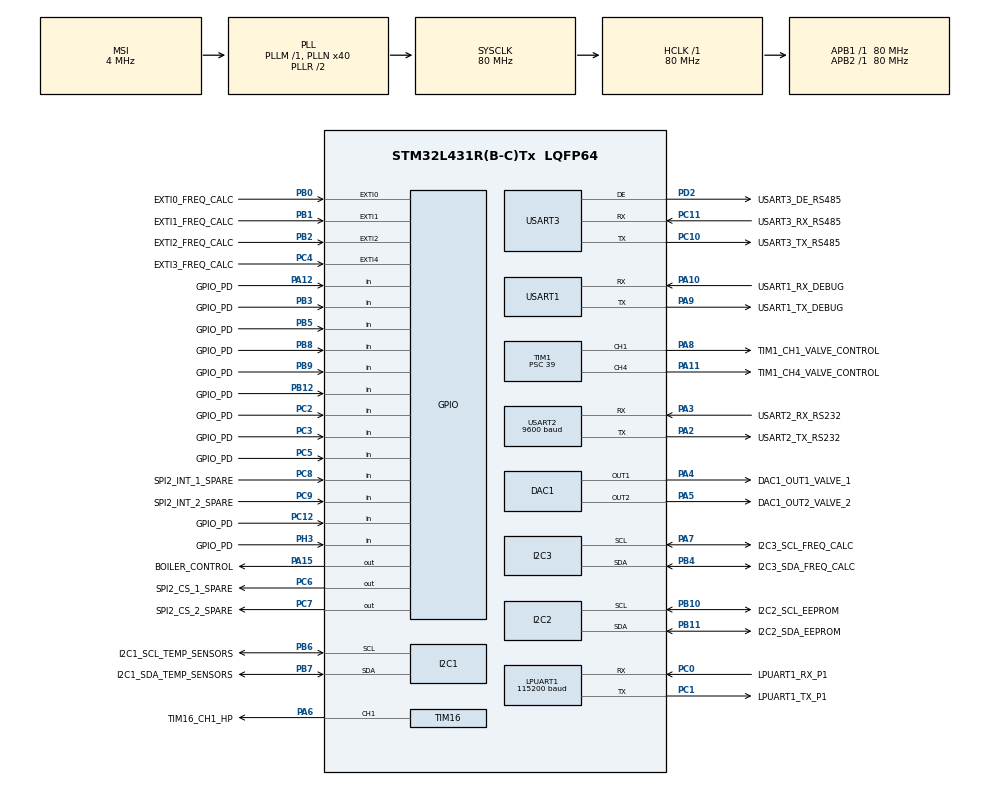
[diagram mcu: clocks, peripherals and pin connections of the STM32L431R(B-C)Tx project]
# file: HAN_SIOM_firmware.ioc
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DAC1.DAC_Channel-DAC_OUT2=DAC_CHANNEL_2
DAC1.DAC_Trigger-DAC_OUT1=DAC_TRIGGER_NONE
DAC1.DAC_Trigger-DAC_OUT2=DAC_TRIGGER_NONE
I2C1.Timing=0x10909CEC
I2C2.OwnAddress=0x20
I2C2.Timing=0x10909CEC
I2C3.Timing=0x10909CEC
LPUART1.BaudRate=115200
LPUART1.RxPinLevelInvertParam=UART_ADVFEATURE_RXINV_DISABLE
LPUART1.TxPinLevelInvertParam=UART_ADVFEATURE_TXINV_DISABLE
LPUART1.WordLength=UART_WORDLENGTH_8B
Mcu.Family=STM32L4
Mcu.Name=STM32L431R(B-C)Tx
Mcu.Package=LQFP64
NVIC.EXTI0_IRQn=true\:0\:0\:true\:false\:true\:true\:true
NVIC.EXTI1_IRQn=true\:0\:0\:true\:false\:true\:true\:true
NVIC.EXTI2_IRQn=true\:0\:0\:true\:false\:true\:true\:true
NVIC.EXTI4_IRQn=true\:0\:0\:true\:false\:true\:true\:true
NVIC.I2C2_EV_IRQn=true\:0\:0\:false\:false\:true\:true\:true
NVIC.LPUART1_IRQn=true\:0\:0\:false\:false\:true\:true\:true
NVIC.PriorityGroup=NVIC_PRIORITYGROUP_4
NVIC.TIM6_DAC_IRQn=true\:0\:0\:false\:false\:true\:true\:true
NVIC.TIM7_IRQn=true\:0\:0\:false\:false\:true\:true\:true
NVIC.USART2_IRQn=true\:0\:0\:false\:false\:true\:true\:true
NVIC.USART3_IRQn=true\:0\:0\:false\:false\:true\:true\:true
PA0.GPIO_Label=USART2_CTS_RS232
PA0.Signal=USART2_CTS
PA1.GPIO_Label=USART2_RTS_RS232
PA1.Signal=USART2_RTS
PA10.GPIO_Label=USART1_RX_DEBUG
PA10.Mode=Asynchronous
PA10.Signal=USART1_RX
PA11.GPIO_Label=TIM1_CH4_VALVE_CONTROL
PA11.Signal=S_TIM1_CH4
PA12.GPIO_Label=GPIO_PD
PA12.Signal=GPIO_Input
PA13\ (JTMS-SWDIO).Mode=Serial_Wire
PA13\ (JTMS-SWDIO).Signal=SYS_JTMS-SWDIO
PA14\ (JTCK-SWCLK).Mode=Serial_Wire
PA14\ (JTCK-SWCLK).Signal=SYS_JTCK-SWCLK
PA15\ (JTDI).GPIO_Label=BOILER_CONTROL
PA15\ (JTDI).Signal=GPIO_Output
PA2.GPIO_Label=USART2_TX_RS232
PA2.Mode=Asynchronous
PA2.Signal=USART2_TX
PA3.GPIO_Label=USART2_RX_RS232
PA3.Mode=Asynchronous
PA3.Signal=USART2_RX
PA4.GPIO_Label=DAC1_OUT1_VALVE_1
PA4.Signal=COMP_DAC11_group
PA5.GPIO_Label=DAC1_OUT2_VALVE_2
PA5.Signal=COMP_DAC12_group
PA6.GPIO_Label=TIM16_CH1_HP
PA6.Signal=S_TIM16_CH1
PA7.GPIO_Label=I2C3_SCL_FREQ_CALC
PA7.GPIO_Pu=GPIO_PULLUP
PA7.Mode=I2C
PA7.Signal=I2C3_SCL
PA8.GPIO_Label=TIM1_CH1_VALVE_CONTROL
PA8.Signal=S_TIM1_CH1
PA9.GPIO_Label=USART1_TX_DEBUG
PA9.Mode=Asynchronous
PA9.Signal=USART1_TX
PB0.GPIO_Label=EXTI0_FREQ_CALC
PB0.GPIO_ModeDefaultEXTI=GPIO_MODE_IT_RISING
PB0.Signal=GPXTI0
PB1.GPIO_Label=EXTI1_FREQ_CALC
PB1.GPIO_ModeDefaultEXTI=GPIO_MODE_IT_RISING
PB1.Signal=GPXTI1
PB10.GPIO_Label=I2C2_SCL_EEPROM
PB10.GPIO_Pu=GPIO_PULLUP
PB10.Mode=I2C
PB10.Signal=I2C2_SCL
PB11.GPIO_Label=I2C2_SDA_EEPROM
PB11.GPIO_Pu=GPIO_PULLUP
PB11.Mode=I2C
PB11.Signal=I2C2_SDA
PB12.GPIO_Label=GPIO_PD
PB12.GPIO_PuPd=GPIO_PULLDOWN
PB12.Signal=GPIO_Input
PB13.Signal=SPI2_SCK
PB14.Signal=SPI2_MISO
PB15.Signal=SPI2_MOSI
PB2.GPIO_Label=EXTI2_FREQ_CALC
PB2.GPIO_ModeDefaultEXTI=GPIO_MODE_IT_RISING
PB2.Signal=GPXTI2
PB3\ (JTDO-TRACESWO).GPIO_Label=GPIO_PD
PB3\ (JTDO-TRACESWO).GPIO_PuPd=GPIO_PULLDOWN
PB3\ (JTDO-TRACESWO).Signal=GPIO_Input
PB4\ (NJTRST).GPIO_Label=I2C3_SDA_FREQ_CALC
PB4\ (NJTRST).GPIO_Pu=GPIO_PULLUP
PB4\ (NJTRST).Mode=I2C
PB4\ (NJTRST).Signal=I2C3_SDA
PB5.GPIO_Label=GPIO_PD
PB5.GPIO_PuPd=GPIO_PULLDOWN
PB5.Signal=GPIO_Input
PB6.GPIO_Label=I2C1_SCL_TEMP_SENSORS
PB6.GPIO_Pu=GPIO_PULLUP
PB6.Mode=I2C
PB6.Signal=I2C1_SCL
PB7.GPIO_Label=I2C1_SDA_TEMP_SENSORS
PB7.GPIO_Pu=GPIO_PULLUP
PB7.Mode=I2C
PB7.Signal=I2C1_SDA
PB8.GPIO_Label=GPIO_PD
PB8.GPIO_PuPd=GPIO_PULLDOWN
PB8.Signal=GPIO_Input
PB9.GPIO_Label=GPIO_PD
PB9.GPIO_PuPd=GPIO_PULLDOWN
PB9.Signal=GPIO_Input
PC0.GPIO_Label=LPUART1_RX_P1
PC0.Mode=Asynchronous
PC0.Signal=LPUART1_RX
PC1.GPIO_Label=LPUART1_TX_P1
PC1.Mode=Asynchronous
PC1.Signal=LPUART1_TX
PC10.GPIO_Label=USART3_TX_RS485
PC10.Mode=Asynchronous
PC10.Signal=USART3_TX
PC11.GPIO_Label=USART3_RX_RS485
PC11.Mode=Asynchronous
PC11.Signal=USART3_RX
PC12.GPIO_Label=GPIO_PD
PC12.GPIO_PuPd=GPIO_PULLDOWN
PC12.Signal=GPIO_Input
PC13.Mode=SYS_WakeUp1
PC13.Signal=SYS_WKUP2
PC14-OSC32_IN\ (PC14).Signal=RCC_OSC32_IN
PC15-OSC32_OUT\ (PC15).Signal=RCC_OSC32_OUT
PC2.GPIO_Label=GPIO_PD
PC2.GPIO_PuPd=GPIO_PULLDOWN
PC2.Signal=GPIO_Input
PC3.GPIO_Label=GPIO_PD
PC3.GPIO_PuPd=GPIO_PULLDOWN
PC3.Signal=GPIO_Input
PC4.GPIO_Label=EXTI3_FREQ_CALC
PC4.GPIO_ModeDefaultEXTI=GPIO_MODE_IT_RISING
PC4.Signal=GPXTI4
PC5.GPIO_Label=GPIO_PD
PC5.GPIO_PuPd=GPIO_PULLDOWN
PC5.Signal=GPIO_Input
PC6.GPIO_Label=SPI2_CS_1_SPARE
PC6.Signal=GPIO_Output
PC7.GPIO_Label=SPI2_CS_2_SPARE
PC7.Signal=GPIO_Output
PC8.GPIO_Label=SPI2_INT_1_SPARE
PC8.Signal=GPIO_Input
PC9.GPIO_Label=SPI2_INT_2_SPARE
PC9.Signal=GPIO_Input
PD2.GPIO_Label=USART3_DE_RS485
PD2.Mode=Hardware Flow Control (RS485)
PD2.Signal=USART3_DE
PH0-OSC_IN\ (PH0).Signal=RCC_OSC_IN
PH1-OSC_OUT\ (PH1).Signal=RCC_OSC_OUT
PH3-BOOT0.GPIO_Label=GPIO_PD
PH3-BOOT0.GPIO_PuPd=GPIO_PULLDOWN
PH3-BOOT0.Signal=GPIO_Input
ProjectManager.HeapSize=0x200
ProjectManager.StackSize=0x400
ProjectManager.TargetToolchain=STM32CubeIDE
RCC.AHBFreq_Value=80000000
RCC.APB1Freq_Value=80000000
RCC.APB1TimFreq_Value=80000000
RCC.APB2Freq_Value=80000000
RCC.APB2TimFreq_Value=80000000
RCC.CortexFreq_Value=80000000
RCC.HCLKFreq_Value=80000000
RCC.HSE_VALUE=8000000
RCC.HSI48_VALUE=48000000
RCC.HSI_VALUE=16000000
RCC.LSE_VALUE=32768
RCC.MSI_VALUE=4000000
RCC.PLLN=40
RCC.SYSCLKFreq_VALUE=80000000
RCC.SYSCLKSource=RCC_SYSCLKSOURCE_PLLCLK
RCC.VCOOutputFreq_Value=160000000
SH.COMP_DAC11_group.0=DAC1_OUT1,DAC_OUT1
SH.COMP_DAC12_group.0=DAC1_OUT2,DAC_OUT2
SH.S_TIM16_CH1.0=TIM16_CH1,PWM Generation1 CH1
SH.S_TIM1_CH1.0=TIM1_CH1,PWM Generation1 CH1
SH.S_TIM1_CH4.0=TIM1_CH4,PWM Generation4 CH4
TIM1.AutoReloadPreload=TIM_AUTORELOAD_PRELOAD_ENABLE
TIM1.Break2Polarity=TIM_BREAK2POLARITY_LOW
TIM1.BreakPolarity=TIM_BREAKPOLARITY_LOW
TIM1.Channel-PWM\ Generation1\ CH1=TIM_CHANNEL_1
TIM1.Channel-PWM\ Generation4\ CH4=TIM_CHANNEL_4
TIM1.ClockDivision=TIM_CLOCKDIVISION_DIV1
TIM1.Period=1000
TIM1.Prescaler=39
TIM1.Pulse-PWM\ Generation1\ CH1=200
TIM1.Pulse-PWM\ Generation4\ CH4=200
TIM16.Channel=TIM_CHANNEL_1
TIM2.AutoReloadPreload=TIM_AUTORELOAD_PRELOAD_ENABLE
TIM2.ClockDivision=TIM_CLOCKDIVISION_DIV2
TIM2.Period=1000
TIM2.Prescaler=40000
TIM6.Prescaler=79
TIM7.Prescaler=79
USART1.RxPinLevelInvertParam=ADVFEATURE_RXINV_DISABLE
USART1.VirtualMode-Asynchronous=VM_ASYNC
USART2.BaudRate=9600
USART2.VirtualMode-Asynchronous=VM_ASYNC
USART3.VirtualMode-Asynchronous=VM_ASYNC
USART3.VirtualMode-Hardware\ Flow\ Control\ (RS485)=VM_ASYNC
VP_TIM16_VS_ClockSourceINT.Mode=Enable_Timer
VP_TIM1_VS_ClockSourceINT.Mode=Internal
VP_TIM2_VS_ClockSourceINT.Mode=Internal
VP_TIM6_VS_ClockSourceINT.Mode=Enable_Timer
VP_TIM7_VS_ClockSourceINT.Mode=Enable_Timer
board=custom

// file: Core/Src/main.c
/* USER CODE BEGIN Header */
/**
  ******************************************************************************
  * @file           : main.c
  * @brief          : Main program body
  ******************************************************************************
  * @attention
  *
  * <h2><center>&copy; Copyright (c) 2021 STMicroelectronics.
  * All rights reserved.</center></h2>
  *
  * This software component is licensed by ST under BSD 3-Clause license,
  * the "License"; You may not use this file except in compliance with the
  * License. You may obtain a copy of the License at:
  *                        opensource.org/licenses/BSD-3-Clause
  *
  ******************************************************************************
  */
/* USER CODE END Header */
#include "main.h"

/* USER CODE BEGIN Includes */
#include "../SiomModule/systemDefinition.h"
#include "../SiomModule/stateMachine.h"
#include "../SiomModule/DL_DS_2482_800/ds_2482_800.h"
/* USER CODE END Includes */

DAC_HandleTypeDef hdac1;

I2C_HandleTypeDef hi2c1;
I2C_HandleTypeDef hi2c2;
I2C_HandleTypeDef hi2c3;

UART_HandleTypeDef hlpuart1;
UART_HandleTypeDef huart1;
UART_HandleTypeDef huart2;
UART_HandleTypeDef huart3;

TIM_HandleTypeDef htim1;
TIM_HandleTypeDef htim2;
TIM_HandleTypeDef htim6;
TIM_HandleTypeDef htim7;
TIM_HandleTypeDef htim16;

/* USER CODE BEGIN PV */
enum e_I2C_COMM_STATE_MACHINE_t
{
	I2C_STATEMACHINE_ADDRESS = 0,
	I2C_STATEMACHINE_REGISTER,
	I2C_STATEMACHINE_DATA,
	I2C_STATEMACHINE_EOF
};
/* USER CODE END PV */

void SystemClock_Config(void);
static void MX_GPIO_Init(void);
static void MX_DAC1_Init(void);
static void MX_I2C1_Init(void);
static void MX_I2C2_Init(void);
static void MX_I2C3_Init(void);
static void MX_LPUART1_UART_Init(void);
static void MX_USART1_UART_Init(void);
static void MX_USART2_UART_Init(void);
static void MX_USART3_UART_Init(void);
static void MX_TIM1_Init(void);
static void MX_TIM2_Init(void);
static void MX_TIM16_Init(void);
static void MX_TIM7_Init(void);
static void MX_TIM6_Init(void);
/* USER CODE BEGIN PFP */
int addressChecked = 0;
int writeOrRead = 0;
int registerAction = 0;
enum e_I2C_COMM_STATE_MACHINE_t i2cCommunication = I2C_STATEMACHINE_ADDRESS;

// Global array for I2C output data because data is send via interrupts >> if not globally known data corruption can occur.
uint8_t i2cOutputData[12] = {0};
/* USER CODE END PFP */

/* USER CODE BEGIN 0 */
void HAL_I2C_AddrCallback(I2C_HandleTypeDef *hi2c, uint8_t TransferDirection, uint16_t AddrMatchCode)
{
	if (addressChecked == 0)
	{
		addressChecked = 1;
		uint8_t dummy = 0;
		HAL_I2C_Slave_Seq_Receive_IT(hi2c, &dummy, 1, I2C_LAST_FRAME);
		systemDebug("Address check received\r\n");
		return;
	}

	switch (i2cCommunication)
	{
	case I2C_STATEMACHINE_ADDRESS:
		// Read target register
		if (HAL_I2C_Slave_Seq_Receive_IT(hi2c, SIOM_Input.i2cArray, 1, I2C_FIRST_AND_NEXT_FRAME) != HAL_OK)
		{
			systemDebug("Register read failed\r\n");
		}

		if (TransferDirection == I2C_DIRECTION_RECEIVE)
		{
			writeOrRead = 1;
			// Master receive
		}
		else
		{
			writeOrRead = 2;
			// Master write
		}
		i2cCommunication = I2C_STATEMACHINE_REGISTER;
		break;
	case I2C_STATEMACHINE_REGISTER:
		// Register value
		registerAction = SIOM_Input.i2cArray[0];
		if (registerAction == 0x01)
		{
			// Read output
			i2cCommunication = I2C_STATEMACHINE_DATA;
			i2cOutputData[0] = SIOM_Output.temperatureSensor_1;
			i2cOutputData[1] = SIOM_Output.temperatureSensor_2;
			i2cOutputData[2] = SIOM_Output.temperatureSensor_3;
			i2cOutputData[3] = SIOM_Output.temperatureSensor_4;
			i2cOutputData[4] = SIOM_Output.temperatureSensor_5;
			i2cOutputData[5] = SIOM_Output.temperatureSensor_6;
			i2cOutputData[6] = SIOM_Output.temperatureSensor_7;
			i2cOutputData[7] = SIOM_Output.temperatureSensor_8;
			i2cOutputData[8] = (SIOM_Output.flowInput1Frequency & 0xFF00) >> 8;
			i2cOutputData[9] = (SIOM_Output.flowInput1Frequency & 0x00FF);
			i2cOutputData[10] = (SIOM_Output.flowInput2Frequency & 0xFF00) >> 8;
			i2cOutputData[11] = (SIOM_Output.flowInput2Frequency & 0x00FF);

			if(HAL_I2C_Slave_Seq_Transmit_IT(hi2c, i2cOutputData, 12, I2C_NEXT_FRAME) != HAL_OK)
			{
				systemDebug("Data write failed\r\n");
			}
			i2cCommunication = I2C_STATEMACHINE_ADDRESS;
		}
		else if (registerAction == 0x00)
		{
			// Write input
			i2cCommunication = I2C_STATEMACHINE_DATA;
			if (HAL_I2C_Slave_Seq_Receive_IT(hi2c, SIOM_Input.i2cArray, 4, I2C_FIRST_AND_NEXT_FRAME) != HAL_OK)
			{
				systemDebug("Register read failed\r\n");
			}
		}
		break;
	default:
		break;
	}
}

void HAL_I2C_ListenCpltCallback(I2C_HandleTypeDef *hi2c) {
	HAL_I2C_EnableListen_IT(hi2c); // Restart

	systemDebug("Frequency 1: %d\r\n", SIOM_Output.flowInput1Frequency);
	systemDebug("Frequency 2: %d\r\n", SIOM_Output.flowInput2Frequency);
	systemDebug("Temperatures >> 1: %i C\r\n, 2: %i C\r\n, 3: %i C\r\n, 4: %i C\r\n, 5: %i C\r\n, 6: %i C\r\n, 7: %i C\r\n, 8: %i C\r\n",
			(SIOM_Output.temperatureSensor_1 - 55),
			(SIOM_Output.temperatureSensor_2 - 55),
			(SIOM_Output.temperatureSensor_3 - 55),
			(SIOM_Output.temperatureSensor_4 - 55),
			(SIOM_Output.temperatureSensor_5 - 55),
			(SIOM_Output.temperatureSensor_6 - 55),
			(SIOM_Output.temperatureSensor_7 - 55),
			(SIOM_Output.temperatureSensor_8 - 55) );
}

void HAL_I2C_SlaveRxCpltCallback(I2C_HandleTypeDef *hi2c)
{
	if (i2cCommunication == I2C_STATEMACHINE_DATA)
	{
		SIOM_Input.expansionBoardAnalogOutput = SIOM_Input.i2cArray[0];
		SIOM_Input.expansionBoardHeaterOutput = SIOM_Input.i2cArray[1];
//		SIOM_Input.valve_1 = SIOM_Input.i2cArray[2];
//		SIOM_Input.valve_2 = SIOM_Input.i2cArray[3];

#warning "Data swap for Valve 1 and Valve 2 due to mistake in pcb silkscreen >> are swapped on pcb"
		SIOM_Input.valve_1 = SIOM_Input.i2cArray[3];
		SIOM_Input.valve_2 = SIOM_Input.i2cArray[2];

		if (SIOM_Input.expansionBoardAnalogOutput > 100)
		{
			// 0 - 100%
			SIOM_Input.expansionBoardAnalogOutput = 100;
		}

		if (SIOM_Input.expansionBoardHeaterOutput > 1)
		{
			// On/Off
			SIOM_Input.expansionBoardHeaterOutput = 1;
		}

		if (SIOM_Input.valve_1 > 100)
		{
			// 0 - 100%
			SIOM_Input.valve_1 = 100;
		}

		if (SIOM_Input.valve_2 > 100)
		{
			// 0 - 100%
			SIOM_Input.valve_2 = 100;
		}

		systemDebug("New output: \r\n"
				"expansionBoardAnalogOutput: %d\r\n"
				"expansionBoardHeaterOutput: %d\r\n"
				"valve_1: %d\r\n"
				"valve_2: %d\r\n",
				SIOM_Input.expansionBoardAnalogOutput,
				SIOM_Input.expansionBoardHeaterOutput,
				SIOM_Input.valve_1,
				SIOM_Input.valve_2);

		i2cCommunication = I2C_STATEMACHINE_ADDRESS;
	}
	else if (i2cCommunication == I2C_STATEMACHINE_REGISTER &&
			SIOM_Input.i2cArray[0] == 0x00)
	{
		// Read data
		i2cCommunication = I2C_STATEMACHINE_DATA;
		if (HAL_I2C_Slave_Seq_Receive_IT(hi2c, SIOM_Input.i2cArray, 4, I2C_FIRST_AND_NEXT_FRAME) != HAL_OK)
		{
			systemDebug("Register read failed\r\n");
		}
	}
}
/* USER CODE END 0 */

int main(void)
{

  /* MCU Configuration--------------------------------------------------------*/

  /* Reset of all peripherals, Initializes the Flash interface and the Systick. */
  HAL_Init();

  /* Configure the system clock */
  SystemClock_Config();

  /* Initialize all configured peripherals */
  MX_GPIO_Init();
  MX_DAC1_Init();
  MX_I2C1_Init();
  MX_I2C2_Init();
  MX_I2C3_Init();
  MX_LPUART1_UART_Init();
  MX_USART1_UART_Init();
  MX_USART2_UART_Init();
  MX_USART3_UART_Init();
  MX_TIM1_Init();
  MX_TIM2_Init();
  MX_TIM16_Init();
  MX_TIM7_Init();
  MX_TIM6_Init();
  /* USER CODE BEGIN 2 */
  systemInit(&huart1);

  DS_2482_800_init(&hi2c1);
  /* USER CODE END 2 */

  /* Infinite loop */
  /* USER CODE BEGIN WHILE */
  if (HAL_I2C_EnableListen_IT(&hi2c2) != HAL_OK)
  {
	  systemDebug("HAL_I2C_EnableListen_IT failed\r\n");
  }

  // Start timers for frequency measurement
  HAL_TIM_Base_Start_IT(&htim6);
  HAL_TIM_Base_Start_IT(&htim7);
  while (1)
  {

	  pollTemperature();
	  pollInputs();
	  pollOutputs();
	  pollCommunication();
    /* USER CODE END WHILE */

  }
}

void SystemClock_Config(void)
{
  RCC_OscInitTypeDef RCC_OscInitStruct = {0};
  RCC_ClkInitTypeDef RCC_ClkInitStruct = {0};

  /** Configure the main internal regulator output voltage
  */
  if (HAL_PWREx_ControlVoltageScaling(PWR_REGULATOR_VOLTAGE_SCALE1) != HAL_OK)
  {
    Error_Handler();
  }
  /** Initializes the RCC Oscillators according to the specified parameters
  * in the RCC_OscInitTypeDef structure.
  */
  RCC_OscInitStruct.OscillatorType = RCC_OSCILLATORTYPE_MSI;
  RCC_OscInitStruct.MSIState = RCC_MSI_ON;
  RCC_OscInitStruct.MSICalibrationValue = 0;
  RCC_OscInitStruct.MSIClockRange = RCC_MSIRANGE_6;
  RCC_OscInitStruct.PLL.PLLState = RCC_PLL_ON;
  RCC_OscInitStruct.PLL.PLLSource = RCC_PLLSOURCE_MSI;
  RCC_OscInitStruct.PLL.PLLM = 1;
  RCC_OscInitStruct.PLL.PLLN = 40;
  RCC_OscInitStruct.PLL.PLLP = RCC_PLLP_DIV7;
  RCC_OscInitStruct.PLL.PLLQ = RCC_PLLQ_DIV2;
  RCC_OscInitStruct.PLL.PLLR = RCC_PLLR_DIV2;
  if (HAL_RCC_OscConfig(&RCC_OscInitStruct) != HAL_OK)
  {
    Error_Handler();
  }
  /** Initializes the CPU, AHB and APB buses clocks
  */
  RCC_ClkInitStruct.ClockType = RCC_CLOCKTYPE_HCLK|RCC_CLOCKTYPE_SYSCLK
                              |RCC_CLOCKTYPE_PCLK1|RCC_CLOCKTYPE_PCLK2;
  RCC_ClkInitStruct.SYSCLKSource = RCC_SYSCLKSOURCE_PLLCLK;
  RCC_ClkInitStruct.AHBCLKDivider = RCC_SYSCLK_DIV1;
  RCC_ClkInitStruct.APB1CLKDivider = RCC_HCLK_DIV1;
  RCC_ClkInitStruct.APB2CLKDivider = RCC_HCLK_DIV1;

  if (HAL_RCC_ClockConfig(&RCC_ClkInitStruct, FLASH_LATENCY_4) != HAL_OK)
  {
    Error_Handler();
  }
}

static void MX_DAC1_Init(void)
{

  DAC_ChannelConfTypeDef sConfig = {0};

  /** DAC Initialization
  */
  hdac1.Instance = DAC1;
  if (HAL_DAC_Init(&hdac1) != HAL_OK)
  {
    Error_Handler();
  }
  /** DAC channel OUT1 config
  */
  sConfig.DAC_SampleAndHold = DAC_SAMPLEANDHOLD_DISABLE;
  sConfig.DAC_Trigger = DAC_TRIGGER_NONE;
  sConfig.DAC_OutputBuffer = DAC_OUTPUTBUFFER_ENABLE;
  sConfig.DAC_ConnectOnChipPeripheral = DAC_CHIPCONNECT_DISABLE;
  sConfig.DAC_UserTrimming = DAC_TRIMMING_FACTORY;
  if (HAL_DAC_ConfigChannel(&hdac1, &sConfig, DAC_CHANNEL_1) != HAL_OK)
  {
    Error_Handler();
  }
  /** DAC channel OUT2 config
  */
  if (HAL_DAC_ConfigChannel(&hdac1, &sConfig, DAC_CHANNEL_2) != HAL_OK)
  {
    Error_Handler();
  }

}

static void MX_I2C1_Init(void)
{

  hi2c1.Instance = I2C1;
  hi2c1.Init.Timing = 0x10909CEC;
  hi2c1.Init.OwnAddress1 = 0;
  hi2c1.Init.AddressingMode = I2C_ADDRESSINGMODE_7BIT;
  hi2c1.Init.DualAddressMode = I2C_DUALADDRESS_DISABLE;
  hi2c1.Init.OwnAddress2 = 0;
  hi2c1.Init.OwnAddress2Masks = I2C_OA2_NOMASK;
  hi2c1.Init.GeneralCallMode = I2C_GENERALCALL_DISABLE;
  hi2c1.Init.NoStretchMode = I2C_NOSTRETCH_DISABLE;
  if (HAL_I2C_Init(&hi2c1) != HAL_OK)
  {
    Error_Handler();
  }
  /** Configure Analogue filter
  */
  if (HAL_I2CEx_ConfigAnalogFilter(&hi2c1, I2C_ANALOGFILTER_ENABLE) != HAL_OK)
  {
    Error_Handler();
  }
  /** Configure Digital filter
  */
  if (HAL_I2CEx_ConfigDigitalFilter(&hi2c1, 0) != HAL_OK)
  {
    Error_Handler();
  }

}

static void MX_I2C2_Init(void)
{

  hi2c2.Instance = I2C2;
  hi2c2.Init.Timing = 0x10909CEC;
  hi2c2.Init.OwnAddress1 = 64;
  hi2c2.Init.AddressingMode = I2C_ADDRESSINGMODE_7BIT;
  hi2c2.Init.DualAddressMode = I2C_DUALADDRESS_DISABLE;
  hi2c2.Init.OwnAddress2 = 0;
  hi2c2.Init.OwnAddress2Masks = I2C_OA2_NOMASK;
  hi2c2.Init.GeneralCallMode = I2C_GENERALCALL_DISABLE;
  hi2c2.Init.NoStretchMode = I2C_NOSTRETCH_DISABLE;
  if (HAL_I2C_Init(&hi2c2) != HAL_OK)
  {
    Error_Handler();
  }
  /** Configure Analogue filter
  */
  if (HAL_I2CEx_ConfigAnalogFilter(&hi2c2, I2C_ANALOGFILTER_ENABLE) != HAL_OK)
  {
    Error_Handler();
  }
  /** Configure Digital filter
  */
  if (HAL_I2CEx_ConfigDigitalFilter(&hi2c2, 0) != HAL_OK)
  {
    Error_Handler();
  }

}

static void MX_I2C3_Init(void)
{

  hi2c3.Instance = I2C3;
  hi2c3.Init.Timing = 0x10909CEC;
  hi2c3.Init.OwnAddress1 = 0;
  hi2c3.Init.AddressingMode = I2C_ADDRESSINGMODE_7BIT;
  hi2c3.Init.DualAddressMode = I2C_DUALADDRESS_DISABLE;
  hi2c3.Init.OwnAddress2 = 0;
  hi2c3.Init.OwnAddress2Masks = I2C_OA2_NOMASK;
  hi2c3.Init.GeneralCallMode = I2C_GENERALCALL_DISABLE;
  hi2c3.Init.NoStretchMode = I2C_NOSTRETCH_DISABLE;
  if (HAL_I2C_Init(&hi2c3) != HAL_OK)
  {
    Error_Handler();
  }
  /** Configure Analogue filter
  */
  if (HAL_I2CEx_ConfigAnalogFilter(&hi2c3, I2C_ANALOGFILTER_ENABLE) != HAL_OK)
  {
    Error_Handler();
  }
  /** Configure Digital filter
  */
  if (HAL_I2CEx_ConfigDigitalFilter(&hi2c3, 0) != HAL_OK)
  {
    Error_Handler();
  }

}

static void MX_LPUART1_UART_Init(void)
{

  hlpuart1.Instance = LPUART1;
  hlpuart1.Init.BaudRate = 115200;
  hlpuart1.Init.WordLength = UART_WORDLENGTH_8B;
  hlpuart1.Init.StopBits = UART_STOPBITS_1;
  hlpuart1.Init.Parity = UART_PARITY_NONE;
  hlpuart1.Init.Mode = UART_MODE_TX_RX;
  hlpuart1.Init.HwFlowCtl = UART_HWCONTROL_NONE;
  hlpuart1.Init.OneBitSampling = UART_ONE_BIT_SAMPLE_DISABLE;
  hlpuart1.AdvancedInit.AdvFeatureInit = UART_ADVFEATURE_NO_INIT;
  if (HAL_UART_Init(&hlpuart1) != HAL_OK)
  {
    Error_Handler();
  }

}

static void MX_USART1_UART_Init(void)
{

  huart1.Instance = USART1;
  huart1.Init.BaudRate = 115200;
  huart1.Init.WordLength = UART_WORDLENGTH_8B;
  huart1.Init.StopBits = UART_STOPBITS_1;
  huart1.Init.Parity = UART_PARITY_NONE;
  huart1.Init.Mode = UART_MODE_TX_RX;
  huart1.Init.HwFlowCtl = UART_HWCONTROL_NONE;
  huart1.Init.OverSampling = UART_OVERSAMPLING_16;
  huart1.Init.OneBitSampling = UART_ONE_BIT_SAMPLE_DISABLE;
  huart1.AdvancedInit.AdvFeatureInit = UART_ADVFEATURE_NO_INIT;
  if (HAL_UART_Init(&huart1) != HAL_OK)
  {
    Error_Handler();
  }

}

static void MX_USART2_UART_Init(void)
{

  huart2.Instance = USART2;
  huart2.Init.BaudRate = 9600;
  huart2.Init.WordLength = UART_WORDLENGTH_8B;
  huart2.Init.StopBits = UART_STOPBITS_1;
  huart2.Init.Parity = UART_PARITY_NONE;
  huart2.Init.Mode = UART_MODE_TX_RX;
  huart2.Init.HwFlowCtl = UART_HWCONTROL_NONE;
  huart2.Init.OverSampling = UART_OVERSAMPLING_16;
  huart2.Init.OneBitSampling = UART_ONE_BIT_SAMPLE_DISABLE;
  huart2.AdvancedInit.AdvFeatureInit = UART_ADVFEATURE_NO_INIT;
  if (HAL_UART_Init(&huart2) != HAL_OK)
  {
    Error_Handler();
  }

}

static void MX_USART3_UART_Init(void)
{

  huart3.Instance = USART3;
  huart3.Init.BaudRate = 115200;
  huart3.Init.WordLength = UART_WORDLENGTH_8B;
  huart3.Init.StopBits = UART_STOPBITS_1;
  huart3.Init.Parity = UART_PARITY_NONE;
  huart3.Init.Mode = UART_MODE_TX_RX;
  huart3.Init.HwFlowCtl = UART_HWCONTROL_NONE;
  huart3.Init.OverSampling = UART_OVERSAMPLING_16;
  huart3.Init.OneBitSampling = UART_ONE_BIT_SAMPLE_DISABLE;
  huart3.AdvancedInit.AdvFeatureInit = UART_ADVFEATURE_NO_INIT;
  if (HAL_RS485Ex_Init(&huart3, UART_DE_POLARITY_HIGH, 0, 0) != HAL_OK)
  {
    Error_Handler();
  }

}

static void MX_TIM1_Init(void)
{

  TIM_ClockConfigTypeDef sClockSourceConfig = {0};
  TIM_MasterConfigTypeDef sMasterConfig = {0};
  TIM_OC_InitTypeDef sConfigOC = {0};
  TIM_BreakDeadTimeConfigTypeDef sBreakDeadTimeConfig = {0};

  htim1.Instance = TIM1;
  htim1.Init.Prescaler = 39;
  htim1.Init.CounterMode = TIM_COUNTERMODE_UP;
  htim1.Init.Period = 1000;
  htim1.Init.ClockDivision = TIM_CLOCKDIVISION_DIV1;
  htim1.Init.RepetitionCounter = 0;
  htim1.Init.AutoReloadPreload = TIM_AUTORELOAD_PRELOAD_ENABLE;
  if (HAL_TIM_Base_Init(&htim1) != HAL_OK)
  {
    Error_Handler();
  }
  sClockSourceConfig.ClockSource = TIM_CLOCKSOURCE_INTERNAL;
  if (HAL_TIM_ConfigClockSource(&htim1, &sClockSourceConfig) != HAL_OK)
  {
    Error_Handler();
  }
  if (HAL_TIM_PWM_Init(&htim1) != HAL_OK)
  {
    Error_Handler();
  }
  sMasterConfig.MasterOutputTrigger = TIM_TRGO_RESET;
  sMasterConfig.MasterOutputTrigger2 = TIM_TRGO2_RESET;
  sMasterConfig.MasterSlaveMode = TIM_MASTERSLAVEMODE_DISABLE;
  if (HAL_TIMEx_MasterConfigSynchronization(&htim1, &sMasterConfig) != HAL_OK)
  {
    Error_Handler();
  }
  sConfigOC.OCMode = TIM_OCMODE_PWM1;
  sConfigOC.Pulse = 200;
  sConfigOC.OCPolarity = TIM_OCPOLARITY_HIGH;
  sConfigOC.OCNPolarity = TIM_OCNPOLARITY_HIGH;
  sConfigOC.OCFastMode = TIM_OCFAST_DISABLE;
  sConfigOC.OCIdleState = TIM_OCIDLESTATE_RESET;
  sConfigOC.OCNIdleState = TIM_OCNIDLESTATE_RESET;
  if (HAL_TIM_PWM_ConfigChannel(&htim1, &sConfigOC, TIM_CHANNEL_1) != HAL_OK)
  {
    Error_Handler();
  }
  if (HAL_TIM_PWM_ConfigChannel(&htim1, &sConfigOC, TIM_CHANNEL_4) != HAL_OK)
  {
    Error_Handler();
  }
  sBreakDeadTimeConfig.OffStateRunMode = TIM_OSSR_DISABLE;
  sBreakDeadTimeConfig.OffStateIDLEMode = TIM_OSSI_DISABLE;
  sBreakDeadTimeConfig.LockLevel = TIM_LOCKLEVEL_OFF;
  sBreakDeadTimeConfig.DeadTime = 0;
  sBreakDeadTimeConfig.BreakState = TIM_BREAK_DISABLE;
  sBreakDeadTimeConfig.BreakPolarity = TIM_BREAKPOLARITY_LOW;
  sBreakDeadTimeConfig.BreakFilter = 0;
  sBreakDeadTimeConfig.Break2State = TIM_BREAK2_DISABLE;
  sBreakDeadTimeConfig.Break2Polarity = TIM_BREAK2POLARITY_LOW;
  sBreakDeadTimeConfig.Break2Filter = 0;
  sBreakDeadTimeConfig.AutomaticOutput = TIM_AUTOMATICOUTPUT_DISABLE;
  if (HAL_TIMEx_ConfigBreakDeadTime(&htim1, &sBreakDeadTimeConfig) != HAL_OK)
  {
    Error_Handler();
  }
  HAL_TIM_MspPostInit(&htim1);

}

static void MX_TIM2_Init(void)
{

  TIM_ClockConfigTypeDef sClockSourceConfig = {0};
  TIM_MasterConfigTypeDef sMasterConfig = {0};

  htim2.Instance = TIM2;
  htim2.Init.Prescaler = 40000;
  htim2.Init.CounterMode = TIM_COUNTERMODE_UP;
  htim2.Init.Period = 1000;
  htim2.Init.ClockDivision = TIM_CLOCKDIVISION_DIV2;
  htim2.Init.AutoReloadPreload = TIM_AUTORELOAD_PRELOAD_ENABLE;
  if (HAL_TIM_Base_Init(&htim2) != HAL_OK)
  {
    Error_Handler();
  }
  sClockSourceConfig.ClockSource = TIM_CLOCKSOURCE_INTERNAL;
  if (HAL_TIM_ConfigClockSource(&htim2, &sClockSourceConfig) != HAL_OK)
  {
    Error_Handler();
  }
  sMasterConfig.MasterOutputTrigger = TIM_TRGO_RESET;
  sMasterConfig.MasterSlaveMode = TIM_MASTERSLAVEMODE_DISABLE;
  if (HAL_TIMEx_MasterConfigSynchronization(&htim2, &sMasterConfig) != HAL_OK)
  {
    Error_Handler();
  }

}

static void MX_TIM6_Init(void)
{

  TIM_MasterConfigTypeDef sMasterConfig = {0};

  htim6.Instance = TIM6;
  htim6.Init.Prescaler = 79;
  htim6.Init.CounterMode = TIM_COUNTERMODE_UP;
  htim6.Init.Period = 65535;
  htim6.Init.AutoReloadPreload = TIM_AUTORELOAD_PRELOAD_DISABLE;
  if (HAL_TIM_Base_Init(&htim6) != HAL_OK)
  {
    Error_Handler();
  }
  sMasterConfig.MasterOutputTrigger = TIM_TRGO_RESET;
  sMasterConfig.MasterSlaveMode = TIM_MASTERSLAVEMODE_DISABLE;
  if (HAL_TIMEx_MasterConfigSynchronization(&htim6, &sMasterConfig) != HAL_OK)
  {
    Error_Handler();
  }

}

static void MX_TIM7_Init(void)
{

  TIM_MasterConfigTypeDef sMasterConfig = {0};

  htim7.Instance = TIM7;
  htim7.Init.Prescaler = 79;
  htim7.Init.CounterMode = TIM_COUNTERMODE_UP;
  htim7.Init.Period = 65535;
  htim7.Init.AutoReloadPreload = TIM_AUTORELOAD_PRELOAD_DISABLE;
  if (HAL_TIM_Base_Init(&htim7) != HAL_OK)
  {
    Error_Handler();
  }
  sMasterConfig.MasterOutputTrigger = TIM_TRGO_RESET;
  sMasterConfig.MasterSlaveMode = TIM_MASTERSLAVEMODE_DISABLE;
  if (HAL_TIMEx_MasterConfigSynchronization(&htim7, &sMasterConfig) != HAL_OK)
  {
    Error_Handler();
  }

}

static void MX_TIM16_Init(void)
{

  TIM_OC_InitTypeDef sConfigOC = {0};
  TIM_BreakDeadTimeConfigTypeDef sBreakDeadTimeConfig = {0};

  htim16.Instance = TIM16;
  htim16.Init.Prescaler = 0;
  htim16.Init.CounterMode = TIM_COUNTERMODE_UP;
  htim16.Init.Period = 65535;
  htim16.Init.ClockDivision = TIM_CLOCKDIVISION_DIV1;
  htim16.Init.RepetitionCounter = 0;
  htim16.Init.AutoReloadPreload = TIM_AUTORELOAD_PRELOAD_DISABLE;
  if (HAL_TIM_Base_Init(&htim16) != HAL_OK)
  {
    Error_Handler();
  }
  if (HAL_TIM_PWM_Init(&htim16) != HAL_OK)
  {
    Error_Handler();
  }
  sConfigOC.OCMode = TIM_OCMODE_PWM1;
  sConfigOC.Pulse = 0;
  sConfigOC.OCPolarity = TIM_OCPOLARITY_HIGH;
  sConfigOC.OCNPolarity = TIM_OCNPOLARITY_HIGH;
  sConfigOC.OCFastMode = TIM_OCFAST_DISABLE;
  sConfigOC.OCIdleState = TIM_OCIDLESTATE_RESET;
  sConfigOC.OCNIdleState = TIM_OCNIDLESTATE_RESET;
  if (HAL_TIM_PWM_ConfigChannel(&htim16, &sConfigOC, TIM_CHANNEL_1) != HAL_OK)
  {
    Error_Handler();
  }
  sBreakDeadTimeConfig.OffStateRunMode = TIM_OSSR_DISABLE;
  sBreakDeadTimeConfig.OffStateIDLEMode = TIM_OSSI_DISABLE;
  sBreakDeadTimeConfig.LockLevel = TIM_LOCKLEVEL_OFF;
  sBreakDeadTimeConfig.DeadTime = 0;
  sBreakDeadTimeConfig.BreakState = TIM_BREAK_DISABLE;
  sBreakDeadTimeConfig.BreakPolarity = TIM_BREAKPOLARITY_HIGH;
  sBreakDeadTimeConfig.AutomaticOutput = TIM_AUTOMATICOUTPUT_DISABLE;
  if (HAL_TIMEx_ConfigBreakDeadTime(&htim16, &sBreakDeadTimeConfig) != HAL_OK)
  {
    Error_Handler();
  }
  HAL_TIM_MspPostInit(&htim16);

}

static void MX_GPIO_Init(void)
{
  GPIO_InitTypeDef GPIO_InitStruct = {0};

  /* GPIO Ports Clock Enable */
  __HAL_RCC_GPIOC_CLK_ENABLE();
  __HAL_RCC_GPIOH_CLK_ENABLE();
  __HAL_RCC_GPIOA_CLK_ENABLE();
  __HAL_RCC_GPIOB_CLK_ENABLE();
  __HAL_RCC_GPIOD_CLK_ENABLE();

  /*Configure GPIO pin Output Level */
  HAL_GPIO_WritePin(GPIOC, SPI2_CS_1_SPARE_Pin|SPI2_CS_2_SPARE_Pin, GPIO_PIN_RESET);

  /*Configure GPIO pin Output Level */
  HAL_GPIO_WritePin(BOILER_CONTROL_GPIO_Port, BOILER_CONTROL_Pin, GPIO_PIN_RESET);

  /*Configure GPIO pins : GPIO_PD_Pin GPIO_PDC3_Pin GPIO_PDC5_Pin GPIO_PDC12_Pin */
  GPIO_InitStruct.Pin = GPIO_PD_Pin|GPIO_PDC3_Pin|GPIO_PDC5_Pin|GPIO_PDC12_Pin;
  GPIO_InitStruct.Mode = GPIO_MODE_INPUT;
  GPIO_InitStruct.Pull = GPIO_PULLDOWN;
  HAL_GPIO_Init(GPIOC, &GPIO_InitStruct);

  /*Configure GPIO pin : EXTI3_FREQ_CALC_Pin */
  GPIO_InitStruct.Pin = EXTI3_FREQ_CALC_Pin;
  GPIO_InitStruct.Mode = GPIO_MODE_IT_RISING;
  GPIO_InitStruct.Pull = GPIO_NOPULL;
  HAL_GPIO_Init(EXTI3_FREQ_CALC_GPIO_Port, &GPIO_InitStruct);

  /*Configure GPIO pins : EXTI0_FREQ_CALC_Pin EXTI1_FREQ_CALC_Pin EXTI2_FREQ_CALC_Pin */
  GPIO_InitStruct.Pin = EXTI0_FREQ_CALC_Pin|EXTI1_FREQ_CALC_Pin|EXTI2_FREQ_CALC_Pin;
  GPIO_InitStruct.Mode = GPIO_MODE_IT_RISING;
  GPIO_InitStruct.Pull = GPIO_NOPULL;
  HAL_GPIO_Init(GPIOB, &GPIO_InitStruct);

  /*Configure GPIO pins : GPIO_PDB12_Pin GPIO_PDB3_Pin GPIO_PDB5_Pin GPIO_PDB8_Pin
                           GPIO_PDB9_Pin */
  GPIO_InitStruct.Pin = GPIO_PDB12_Pin|GPIO_PDB3_Pin|GPIO_PDB5_Pin|GPIO_PDB8_Pin
                          |GPIO_PDB9_Pin;
  GPIO_InitStruct.Mode = GPIO_MODE_INPUT;
  GPIO_InitStruct.Pull = GPIO_PULLDOWN;
  HAL_GPIO_Init(GPIOB, &GPIO_InitStruct);

  /*Configure GPIO pins : PB13 PB14 PB15 */
  GPIO_InitStruct.Pin = GPIO_PIN_13|GPIO_PIN_14|GPIO_PIN_15;
  GPIO_InitStruct.Mode = GPIO_MODE_AF_PP;
  GPIO_InitStruct.Pull = GPIO_NOPULL;
  GPIO_InitStruct.Speed = GPIO_SPEED_FREQ_VERY_HIGH;
  GPIO_InitStruct.Alternate = GPIO_AF5_SPI2;
  HAL_GPIO_Init(GPIOB, &GPIO_InitStruct);

  /*Configure GPIO pins : SPI2_CS_1_SPARE_Pin SPI2_CS_2_SPARE_Pin */
  GPIO_InitStruct.Pin = SPI2_CS_1_SPARE_Pin|SPI2_CS_2_SPARE_Pin;
  GPIO_InitStruct.Mode = GPIO_MODE_OUTPUT_PP;
  GPIO_InitStruct.Pull = GPIO_NOPULL;
  GPIO_InitStruct.Speed = GPIO_SPEED_FREQ_LOW;
  HAL_GPIO_Init(GPIOC, &GPIO_InitStruct);

  /*Configure GPIO pins : SPI2_INT_1_SPARE_Pin SPI2_INT_2_SPARE_Pin */
  GPIO_InitStruct.Pin = SPI2_INT_1_SPARE_Pin|SPI2_INT_2_SPARE_Pin;
  GPIO_InitStruct.Mode = GPIO_MODE_INPUT;
  GPIO_InitStruct.Pull = GPIO_NOPULL;
  HAL_GPIO_Init(GPIOC, &GPIO_InitStruct);

  /*Configure GPIO pin : GPIO_PDA12_Pin */
  GPIO_InitStruct.Pin = GPIO_PDA12_Pin;
  GPIO_InitStruct.Mode = GPIO_MODE_INPUT;
  GPIO_InitStruct.Pull = GPIO_NOPULL;
  HAL_GPIO_Init(GPIO_PDA12_GPIO_Port, &GPIO_InitStruct);

  /*Configure GPIO pin : BOILER_CONTROL_Pin */
  GPIO_InitStruct.Pin = BOILER_CONTROL_Pin;
  GPIO_InitStruct.Mode = GPIO_MODE_OUTPUT_PP;
  GPIO_InitStruct.Pull = GPIO_NOPULL;
  GPIO_InitStruct.Speed = GPIO_SPEED_FREQ_LOW;
  HAL_GPIO_Init(BOILER_CONTROL_GPIO_Port, &GPIO_InitStruct);

  /*Configure GPIO pin : GPIO_PDH3_Pin */
  GPIO_InitStruct.Pin = GPIO_PDH3_Pin;
  GPIO_InitStruct.Mode = GPIO_MODE_INPUT;
  GPIO_InitStruct.Pull = GPIO_PULLDOWN;
  HAL_GPIO_Init(GPIO_PDH3_GPIO_Port, &GPIO_InitStruct);

  /* EXTI interrupt init*/
  HAL_NVIC_SetPriority(EXTI0_IRQn, 0, 0);
  HAL_NVIC_EnableIRQ(EXTI0_IRQn);

  HAL_NVIC_SetPriority(EXTI1_IRQn, 0, 0);
  HAL_NVIC_EnableIRQ(EXTI1_IRQn);

  HAL_NVIC_SetPriority(EXTI2_IRQn, 0, 0);
  HAL_NVIC_EnableIRQ(EXTI2_IRQn);

  HAL_NVIC_SetPriority(EXTI4_IRQn, 0, 0);
  HAL_NVIC_EnableIRQ(EXTI4_IRQn);

}

void Error_Handler(void)
{
  __disable_irq();
  while (1)
  {
  }
}

/************************ (C) COPYRIGHT STMicroelectronics *****END OF FILE****/
